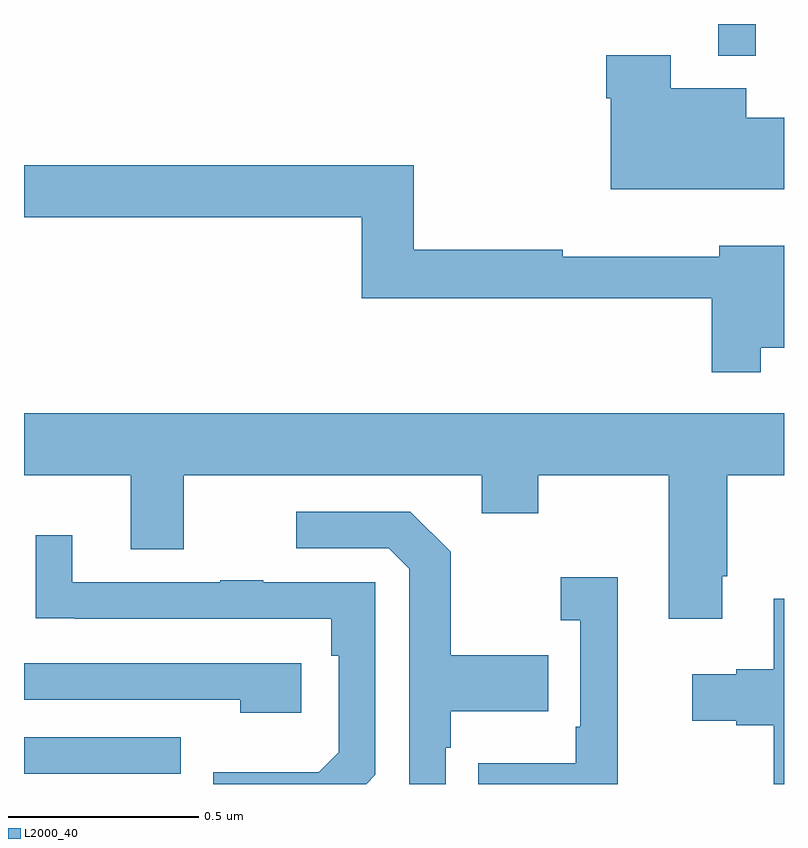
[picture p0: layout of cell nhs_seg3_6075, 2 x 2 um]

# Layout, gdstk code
import gdstk
lib = gdstk.Library(unit=1e-6, precision=1e-09)
def R(c, l, rs):  # rectangles x0, y0, x1, y1
    for r in rs: c.add(gdstk.rectangle(r[:2], r[2:], *l))
def P(c, l, *ps):  # polygons
    for p in ps: c.add(gdstk.Polygon(p, *l))
L2000_40 = (2000, 40)

nhs_seg3_6075 = lib.new_cell('nhs_seg3_6075')
R(nhs_seg3_6075, L2000_40, [(186,737.427,186.413,737.523), (187.827,739.316,187.925,739.4)])
P(nhs_seg3_6075, L2000_40, [(188,739.153),(187.9,739.153),(187.9,739.231),(187.702,739.231),(187.702,739.318),(187.532,739.318),(187.532,739.205),(187.544,739.205),(187.544,738.965),(188,738.965)],
  [(187.939,738.548),(188,738.548),(188,738.817),(187.829,738.817),(187.829,738.787),(187.418,738.787),(187.418,738.806),(187.025,738.806),(187.025,739.028),(186,739.028),(186,738.892),(186.889,738.892),(186.889,738.678),(187.81,738.678),(187.81,738.483),(187.939,738.483)],
  [(187.837,737.947),(187.85,737.947),(187.85,738.212),(188,738.212),(188,738.376),(186,738.376),(186,738.212),(186.281,738.212),(186.281,738.018),(186.421,738.018),(186.421,738.212),(187.205,738.212),(187.205,738.113),(187.353,738.113),(187.353,738.212),(187.697,738.212),(187.697,737.835),(187.837,737.835)],
  [(187.11,737.495),(187.123,737.495),(187.123,737.591),(187.379,737.591),(187.379,737.739),(187.123,737.739),(187.123,738.011),(187.017,738.117),(186.717,738.117),(186.717,738.021),(186.96,738.021),(187.014,737.967),(187.014,737.4),(187.11,737.4)],
  [(186.924,737.424),(186.924,737.931),(186.629,737.931),(186.629,737.936),(186.517,737.936),(186.517,737.931),(186.127,737.931),(186.127,738.055),(186.031,738.055),(186.031,737.836),(186.133,737.836),(186.133,737.835),(186.808,737.835),(186.808,737.738),(186.828,737.738),(186.828,737.484),(186.775,737.431),(186.498,737.431),(186.498,737.4),(186.9,737.4)],
  [(187.562,737.944),(187.413,737.944),(187.413,737.831),(187.464,737.831),(187.464,737.551),(187.452,737.551),(187.452,737.455),(187.195,737.455),(187.195,737.4),(187.562,737.4)],
  [(188,737.887),(187.973,737.887),(187.973,737.702),(187.874,737.702),(187.874,737.689),(187.758,737.689),(187.758,737.567),(187.874,737.567),(187.874,737.555),(187.973,737.555),(187.973,737.4),(188,737.4)],
  [(186.73,737.718),(186,737.718),(186,737.622),(186.569,737.622),(186.569,737.588),(186.73,737.588)])

lib.write_gds('nhs_seg3_6075.gds')
